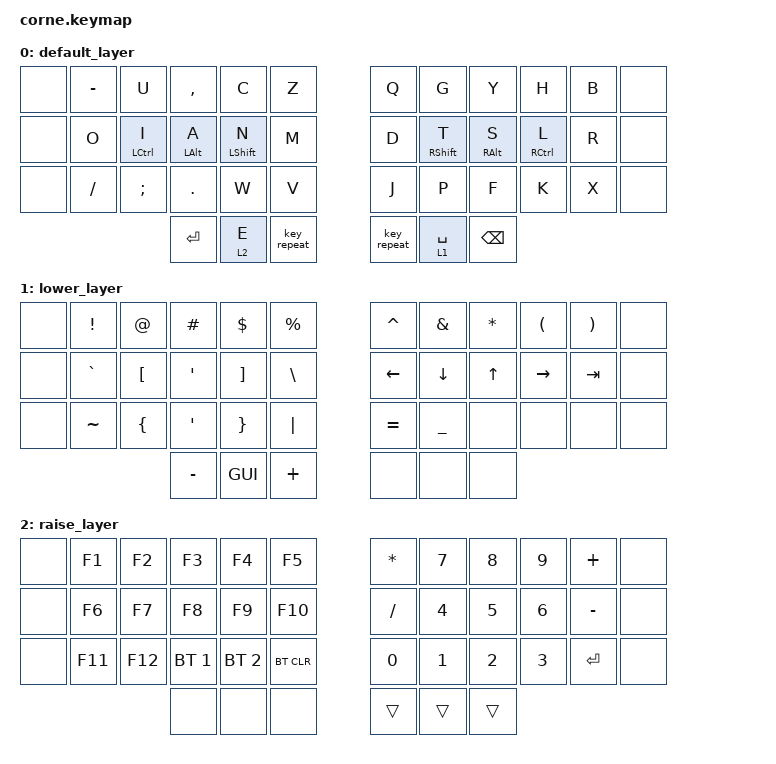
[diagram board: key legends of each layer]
/*
 * Copyright (c) 2020 The ZMK Contributors
 *
 * SPDX-License-Identifier: MIT
 */

#include <behaviors.dtsi>
#include <dt-bindings/zmk/keys.h>
#include <dt-bindings/zmk/bt.h>

&nice_view_spi {
  cs-gpios = <&pro_micro 0 GPIO_ACTIVE_HIGH>;
};

/ {

        behaviors {
                hm: balanced-homerow-mods {
                     compatible = "zmk,behavior-hold-tap";
                     label = "HOMEROW_MODS";
                     #binding-cells = <2>;
                     tapping-term-ms = <200>;
                     quick-tap-ms = <0>;
                     flavor = "tap-preferred";
                     bindings = <&kp>, <&kp>;
                };

        };

        keymap {
                compatible = "zmk,keymap";

                default_layer {
// -----------------------------------------------------------------------------------------
//   |  -  |  U  |  ,    |  C       | Z   |   | Q   | G         |  Y    |  H  |  B  |
//   |  O  |  I  |  A    |  N       | M   |   | D   | T         |  S    |  L  |  R  |
//   |  /  |  ;  |  .    |  W       | V   |   | J   | P         |  F    |  K  |  X  |
//               |  RET  |  RSE/E   | RPT |   | RPT | LWR/SPC   |  BKSP |
                        bindings = <
   &none &kp MINUS &kp U       &kp COMMA  &kp C       &kp Z /**/ &kp Q &kp G       &kp Y      &kp H       &kp B &none
   &none &kp O     &hm LCTRL I &hm LALT A &hm LSHFT N &kp M /**/ &kp D &hm RSHFT T &hm RALT S &hm RCTRL L &kp R &none
   &none &kp FSLH  &kp SEMI    &kp DOT    &kp W       &kp V /**/ &kp J &kp P       &kp F      &kp K       &kp X &none
   &kp RET &lt 2 E &key_repeat                              /**/ &key_repeat &lt 1 SPC  &kp BSPC
                        >;
                };

                lower_layer {
// -----------------------------------------------------------------------------------------
// | ! | @ | # |  $  |  %  |   | ^   |  &   |  *  |  (   |  )  |
// | ` | [ | ' |  ]  |  \  |   | LFT |  DWN |  UP |  RGT | TAB |
// | ~ | { | " |  }  |  |  |   | =   |  _   |     |      |     |
//         | - | GUI |  +  |   |     |      |     |
                        bindings = <
   &none     &kp EXCL  &kp AT   &kp HASH &kp DLLR &kp PRCNT /**/ &kp CARET &kp AMPS  &kp STAR &kp LPAR  &kp RPAR &none
   &none     &kp GRAVE &kp LBKT &kp SQT  &kp RBKT &kp BSLH  /**/ &kp LEFT  &kp DOWN  &kp UP   &kp RIGHT &kp TAB  &none
   &none     &kp TILDE &kp LBRC &kp APOS &kp RBRC &kp PIPE  /**/ &kp EQUAL &kp UNDER &none    &none     &none    &none
   &kp MINUS &kp GUI   &kp PLUS                             /**/ &none     &none     &none
                        >;
                };

                raise_layer {
// -----------------------------------------------------------------------------------------
// |  F1  |  F2  |  F3  |  F4  | F5    |   |  *  |  7  |  8  |  9  |  + |
// |  F6  |  F7  |  F8  |  F9  | F10   |   |  /  |  4  |  5  |  6  |  - |
// |  F11 |  F12 |  BT1 |  BT2 | BTCLR |   |  0  |  1  |  2  |  3  |  ^ |
//               |      |      |       |   |     |     |     |
                        bindings = <
   &none     &kp F1  &kp F2  &kp F3       &kp F4       &kp F5     /**/ &kp STAR &kp N7 &kp N8 &kp N9 &kp PLUS  &none
   &none     &kp F6  &kp F7  &kp F8       &kp F9       &kp F10    /**/ &kp FSLH &kp N4 &kp N5 &kp N6 &kp MINUS &none
   &none     &kp F11 &kp F12 &bt BT_SEL 1 &bt BT_SEL 2 &bt BT_CLR /**/ &kp N0    &kp N1 &kp N2 &kp N3 &kp RET   &none
   &none     &none   &none                                        /**/ &trans   &trans    &trans
                        >;
                };
        };

};
